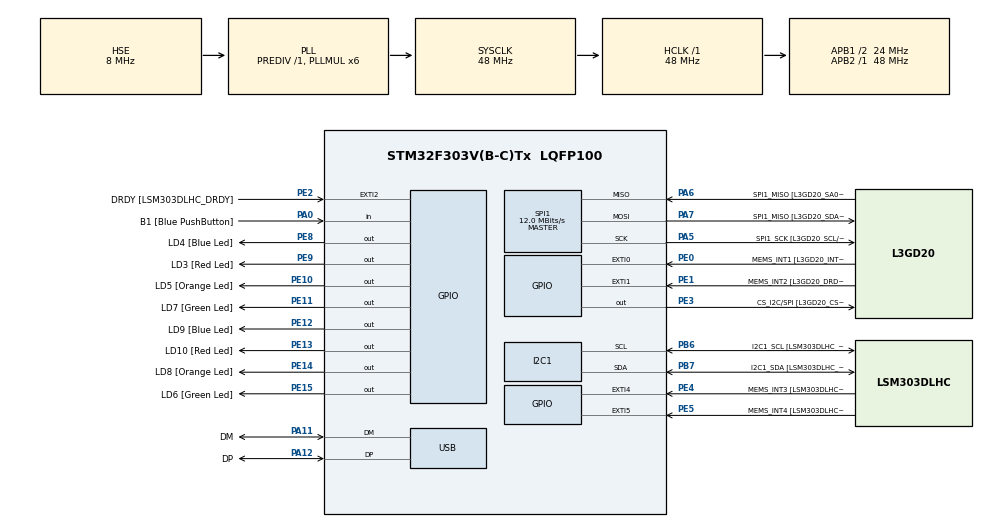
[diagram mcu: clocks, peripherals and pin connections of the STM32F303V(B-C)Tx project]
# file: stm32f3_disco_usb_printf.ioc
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I2C1.Timing=0x2000090E
I2C1.Timing-I2C=0x2000090E
Mcu.Family=STM32F3
Mcu.Name=STM32F303V(B-C)Tx
Mcu.Package=LQFP100
NVIC.PriorityGroup=NVIC_PRIORITYGROUP_0
NVIC.USB_LP_CAN_RX0_IRQn=true\:0\:0\:false\:false\:true\:false\:true
PA0.GPIO_Label=B1 [Blue PushButton]
PA0.Signal=GPIO_Input
PA11.GPIO_Label=DM
PA11.Mode=Device
PA11.Signal=USB_DM
PA12.GPIO_Label=DP
PA12.Mode=Device
PA12.Signal=USB_DP
PA13.GPIO_Label=SWDIO
PA13.Mode=Serial_Wire
PA13.Signal=SYS_JTMS-SWDIO
PA14.GPIO_Label=SWCLK
PA14.Mode=Serial_Wire
PA14.Signal=SYS_JTCK-SWCLK
PA5.GPIO_Label=SPI1_SCK [L3GD20_SCL/SPC]
PA5.Mode=Full_Duplex_Master
PA5.Signal=SPI1_SCK
PA6.GPIO_Label=SPI1_MISO [L3GD20_SA0/SDO]
PA6.Mode=Full_Duplex_Master
PA6.Signal=SPI1_MISO
PA7.GPIO_Label=SPI1_MISO [L3GD20_SDA/SDI/SDO]
PA7.Mode=Full_Duplex_Master
PA7.Signal=SPI1_MOSI
PB3.GPIO_Label=SWO
PB3.Signal=SYS_JTDO-TRACESWO
PB6.GPIO_Label=I2C1_SCL [LSM303DLHC_SCL]
PB6.Mode=I2C
PB6.Signal=I2C1_SCL
PB7.GPIO_Label=I2C1_SDA [LSM303DLHC_SDA]
PB7.Mode=I2C
PB7.Signal=I2C1_SDA
PC14-OSC32_IN.GPIO_Label=OSC32_IN
PC14-OSC32_IN.Signal=RCC_OSC32_IN
PC15-OSC32_OUT.GPIO_Label=OSC32_OUT
PC15-OSC32_OUT.Signal=RCC_OSC32_OUT
PE0.GPIO_Label=MEMS_INT1 [L3GD20_INT1]
PE0.GPIO_ModeDefaultEXTI=GPIO_MODE_EVT_RISING
PE0.Signal=GPXTI0
PE1.GPIO_Label=MEMS_INT2 [L3GD20_DRDY/INT2]
PE1.GPIO_ModeDefaultEXTI=GPIO_MODE_EVT_RISING
PE1.Signal=GPXTI1
PE10.GPIO_Label=LD5 [Orange Led]
PE10.Signal=GPIO_Output
PE11.GPIO_Label=LD7 [Green Led]
PE11.Signal=GPIO_Output
PE12.GPIO_Label=LD9 [Blue Led]
PE12.Signal=GPIO_Output
PE13.GPIO_Label=LD10 [Red Led]
PE13.Signal=GPIO_Output
PE14.GPIO_Label=LD8 [Orange Led]
PE14.Signal=GPIO_Output
PE15.GPIO_Label=LD6 [Green Led]
PE15.Signal=GPIO_Output
PE2.GPIO_Label=DRDY [LSM303DLHC_DRDY]
PE2.GPIO_ModeDefaultEXTI=GPIO_MODE_EVT_RISING
PE2.Signal=GPXTI2
PE3.GPIO_Label=CS_I2C/SPI [L3GD20_CS_I2C/SPI]
PE3.Signal=GPIO_Output
PE4.GPIO_Label=MEMS_INT3 [LSM303DLHC_INT1]
PE4.GPIO_ModeDefaultEXTI=GPIO_MODE_EVT_RISING
PE4.Signal=GPXTI4
PE5.GPIO_Label=MEMS_INT4 [LSM303DLHC_INT2]
PE5.GPIO_ModeDefaultEXTI=GPIO_MODE_EVT_RISING
PE5.Signal=GPXTI5
PE8.GPIO_Label=LD4 [Blue Led]
PE8.Signal=GPIO_Output
PE9.GPIO_Label=LD3 [Red Led]
PE9.Signal=GPIO_Output
PF0-OSC_IN.GPIO_Label=OSC_IN
PF0-OSC_IN.Mode=HSE-External-Clock-Source
PF0-OSC_IN.Signal=RCC_OSC_IN
PF1-OSC_OUT.GPIO_Label=OSC_OUT
PF1-OSC_OUT.Signal=RCC_OSC_OUT
ProjectManager.HeapSize=0x200
ProjectManager.StackSize=0x400
ProjectManager.TargetToolchain=SW4STM32
RCC.AHBFreq_Value=48000000
RCC.APB1CLKDivider=RCC_HCLK_DIV2
RCC.APB1Freq_Value=24000000
RCC.APB1TimFreq_Value=48000000
RCC.APB2Freq_Value=48000000
RCC.APB2TimFreq_Value=48000000
RCC.CortexFreq_Value=48000000
RCC.HCLKFreq_Value=48000000
RCC.HSE_VALUE=8000000
RCC.HSI_VALUE=8000000
RCC.LSE_VALUE=32768
RCC.PLLMUL=RCC_PLL_MUL6
RCC.SYSCLKFreq_VALUE=48000000
RCC.SYSCLKSourceVirtual=RCC_SYSCLKSOURCE_PLLCLK
RCC.USBFreq_Value=48000000
SPI1.BaudRatePrescaler=SPI_BAUDRATEPRESCALER_4
SPI1.BaudRatePrescaler-Full_Duplex_Master=SPI_BAUDRATEPRESCALER_2
SPI1.CalculateBaudRate=12.0 MBits/s
SPI1.CalculateBaudRate-Full_Duplex_Master=24.0 MBits/s
SPI1.Direction=SPI_DIRECTION_2LINES
SPI1.Mode=SPI_MODE_MASTER
SPI1.Mode-Full_Duplex_Master=SPI_MODE_MASTER
SPI1.VirtualType=VM_MASTER
USB_DEVICE.CLASS_NAME_FS=CDC
USB_DEVICE.VirtualMode=Cdc
USB_DEVICE.VirtualModeFS=Cdc_FS
VP_USB_DEVICE_VS_USB_DEVICE_CDC_FS.Mode=CDC_FS
board=STM32F3DISCOVERY

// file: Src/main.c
/* USER CODE BEGIN Header */
/**
  ******************************************************************************
  * @file           : main.c
  * @brief          : Main program body
  ******************************************************************************
  * @attention
  *
  * <h2><center>&copy; Copyright (c) 2020 STMicroelectronics.
  * All rights reserved.</center></h2>
  *
  * This software component is licensed by ST under Ultimate Liberty license
  * SLA0044, the "License"; You may not use this file except in compliance with
  * the License. You may obtain a copy of the License at:
  *                             www.st.com/SLA0044
  *
  ******************************************************************************
  */
/* USER CODE END Header */

#include "main.h"
#include "usb_device.h"

/* USER CODE BEGIN Includes */
#include "usbd_cdc_if.h"
/* USER CODE END Includes */

/* USER CODE BEGIN PD */
#define DEBUG
#define DBG_EXTENDED

#ifdef DEBUG
#ifdef DBG_EXTENDED
#define DBG_PRINT(format, ...) printf( "[%08lu]%s:%d:%s(): " format "\r\n", HAL_GetTick(), __FILE__, __LINE__, __func__, ##__VA_ARGS__);
#else
#define DBG_PRINT(format, ...) printf( "%s: " format "\r\n", __func__, ##__VA_ARGS__);
#endif
#endif
/* USER CODE END PD */

I2C_HandleTypeDef hi2c1;

SPI_HandleTypeDef hspi1;

void SystemClock_Config(void);
static void MX_GPIO_Init(void);
static void MX_I2C1_Init(void);
static void MX_SPI1_Init(void);

/* USER CODE BEGIN 0 */
int __io_putchar(int ch)
{
	int ret = CDC_Transmit_FS((uint8_t*)&ch, 1);
	while(ret == USBD_BUSY)
		ret = CDC_Transmit_FS((uint8_t*)&ch, 1);
	return ch;
}
/* USER CODE END 0 */

int main(void)
{
  /* USER CODE BEGIN 1 */
  int i = 0;
  /* USER CODE END 1 */

  /* MCU Configuration--------------------------------------------------------*/

  /* Reset of all peripherals, Initializes the Flash interface and the Systick. */
  HAL_Init();

  /* Configure the system clock */
  SystemClock_Config();

  /* Initialize all configured peripherals */
  MX_GPIO_Init();
  MX_I2C1_Init();
  MX_SPI1_Init();
  MX_USB_DEVICE_Init();

  /* Infinite loop */
  /* USER CODE BEGIN WHILE */
  while (1)
  {
	  i++;
	  printf("Hello printf %i\r\n", i);
	  HAL_Delay(1000);
	  DBG_PRINT("Hello DBG_PRINT: %i", i);
    /* USER CODE END WHILE */

  }
}

void SystemClock_Config(void)
{
  RCC_OscInitTypeDef RCC_OscInitStruct = {0};
  RCC_ClkInitTypeDef RCC_ClkInitStruct = {0};
  RCC_PeriphCLKInitTypeDef PeriphClkInit = {0};

  /** Initializes the CPU, AHB and APB busses clocks
  */
  RCC_OscInitStruct.OscillatorType = RCC_OSCILLATORTYPE_HSI|RCC_OSCILLATORTYPE_HSE;
  RCC_OscInitStruct.HSEState = RCC_HSE_BYPASS;
  RCC_OscInitStruct.HSEPredivValue = RCC_HSE_PREDIV_DIV1;
  RCC_OscInitStruct.HSIState = RCC_HSI_ON;
  RCC_OscInitStruct.HSICalibrationValue = RCC_HSICALIBRATION_DEFAULT;
  RCC_OscInitStruct.PLL.PLLState = RCC_PLL_ON;
  RCC_OscInitStruct.PLL.PLLSource = RCC_PLLSOURCE_HSE;
  RCC_OscInitStruct.PLL.PLLMUL = RCC_PLL_MUL6;
  if (HAL_RCC_OscConfig(&RCC_OscInitStruct) != HAL_OK)
  {
    Error_Handler();
  }
  /** Initializes the CPU, AHB and APB busses clocks
  */
  RCC_ClkInitStruct.ClockType = RCC_CLOCKTYPE_HCLK|RCC_CLOCKTYPE_SYSCLK
                              |RCC_CLOCKTYPE_PCLK1|RCC_CLOCKTYPE_PCLK2;
  RCC_ClkInitStruct.SYSCLKSource = RCC_SYSCLKSOURCE_PLLCLK;
  RCC_ClkInitStruct.AHBCLKDivider = RCC_SYSCLK_DIV1;
  RCC_ClkInitStruct.APB1CLKDivider = RCC_HCLK_DIV2;
  RCC_ClkInitStruct.APB2CLKDivider = RCC_HCLK_DIV1;

  if (HAL_RCC_ClockConfig(&RCC_ClkInitStruct, FLASH_LATENCY_1) != HAL_OK)
  {
    Error_Handler();
  }
  PeriphClkInit.PeriphClockSelection = RCC_PERIPHCLK_USB|RCC_PERIPHCLK_I2C1;
  PeriphClkInit.I2c1ClockSelection = RCC_I2C1CLKSOURCE_HSI;
  PeriphClkInit.USBClockSelection = RCC_USBCLKSOURCE_PLL;
  if (HAL_RCCEx_PeriphCLKConfig(&PeriphClkInit) != HAL_OK)
  {
    Error_Handler();
  }
}

static void MX_I2C1_Init(void)
{

  hi2c1.Instance = I2C1;
  hi2c1.Init.Timing = 0x2000090E;
  hi2c1.Init.OwnAddress1 = 0;
  hi2c1.Init.AddressingMode = I2C_ADDRESSINGMODE_7BIT;
  hi2c1.Init.DualAddressMode = I2C_DUALADDRESS_DISABLE;
  hi2c1.Init.OwnAddress2 = 0;
  hi2c1.Init.OwnAddress2Masks = I2C_OA2_NOMASK;
  hi2c1.Init.GeneralCallMode = I2C_GENERALCALL_DISABLE;
  hi2c1.Init.NoStretchMode = I2C_NOSTRETCH_DISABLE;
  if (HAL_I2C_Init(&hi2c1) != HAL_OK)
  {
    Error_Handler();
  }
  /** Configure Analogue filter
  */
  if (HAL_I2CEx_ConfigAnalogFilter(&hi2c1, I2C_ANALOGFILTER_ENABLE) != HAL_OK)
  {
    Error_Handler();
  }
  /** Configure Digital filter
  */
  if (HAL_I2CEx_ConfigDigitalFilter(&hi2c1, 0) != HAL_OK)
  {
    Error_Handler();
  }

}

static void MX_SPI1_Init(void)
{

  /* SPI1 parameter configuration*/
  hspi1.Instance = SPI1;
  hspi1.Init.Mode = SPI_MODE_MASTER;
  hspi1.Init.Direction = SPI_DIRECTION_2LINES;
  hspi1.Init.DataSize = SPI_DATASIZE_4BIT;
  hspi1.Init.CLKPolarity = SPI_POLARITY_LOW;
  hspi1.Init.CLKPhase = SPI_PHASE_1EDGE;
  hspi1.Init.NSS = SPI_NSS_SOFT;
  hspi1.Init.BaudRatePrescaler = SPI_BAUDRATEPRESCALER_4;
  hspi1.Init.FirstBit = SPI_FIRSTBIT_MSB;
  hspi1.Init.TIMode = SPI_TIMODE_DISABLE;
  hspi1.Init.CRCCalculation = SPI_CRCCALCULATION_DISABLE;
  hspi1.Init.CRCPolynomial = 7;
  hspi1.Init.CRCLength = SPI_CRC_LENGTH_DATASIZE;
  hspi1.Init.NSSPMode = SPI_NSS_PULSE_ENABLE;
  if (HAL_SPI_Init(&hspi1) != HAL_OK)
  {
    Error_Handler();
  }

}

static void MX_GPIO_Init(void)
{
  GPIO_InitTypeDef GPIO_InitStruct = {0};

  /* GPIO Ports Clock Enable */
  __HAL_RCC_GPIOE_CLK_ENABLE();
  __HAL_RCC_GPIOC_CLK_ENABLE();
  __HAL_RCC_GPIOF_CLK_ENABLE();
  __HAL_RCC_GPIOA_CLK_ENABLE();
  __HAL_RCC_GPIOB_CLK_ENABLE();

  /*Configure GPIO pin Output Level */
  HAL_GPIO_WritePin(GPIOE, CS_I2C_SPI_Pin|LD4_Pin|LD3_Pin|LD5_Pin
                          |LD7_Pin|LD9_Pin|LD10_Pin|LD8_Pin
                          |LD6_Pin, GPIO_PIN_RESET);

  /*Configure GPIO pins : DRDY_Pin MEMS_INT3_Pin MEMS_INT4_Pin MEMS_INT1_Pin
                           MEMS_INT2_Pin */
  GPIO_InitStruct.Pin = DRDY_Pin|MEMS_INT3_Pin|MEMS_INT4_Pin|MEMS_INT1_Pin
                          |MEMS_INT2_Pin;
  GPIO_InitStruct.Mode = GPIO_MODE_EVT_RISING;
  GPIO_InitStruct.Pull = GPIO_NOPULL;
  HAL_GPIO_Init(GPIOE, &GPIO_InitStruct);

  /*Configure GPIO pins : CS_I2C_SPI_Pin LD4_Pin LD3_Pin LD5_Pin
                           LD7_Pin LD9_Pin LD10_Pin LD8_Pin
                           LD6_Pin */
  GPIO_InitStruct.Pin = CS_I2C_SPI_Pin|LD4_Pin|LD3_Pin|LD5_Pin
                          |LD7_Pin|LD9_Pin|LD10_Pin|LD8_Pin
                          |LD6_Pin;
  GPIO_InitStruct.Mode = GPIO_MODE_OUTPUT_PP;
  GPIO_InitStruct.Pull = GPIO_NOPULL;
  GPIO_InitStruct.Speed = GPIO_SPEED_FREQ_LOW;
  HAL_GPIO_Init(GPIOE, &GPIO_InitStruct);

  /*Configure GPIO pin : B1_Pin */
  GPIO_InitStruct.Pin = B1_Pin;
  GPIO_InitStruct.Mode = GPIO_MODE_INPUT;
  GPIO_InitStruct.Pull = GPIO_NOPULL;
  HAL_GPIO_Init(B1_GPIO_Port, &GPIO_InitStruct);

}

void Error_Handler(void)
{
}

/************************ (C) COPYRIGHT STMicroelectronics *****END OF FILE****/
